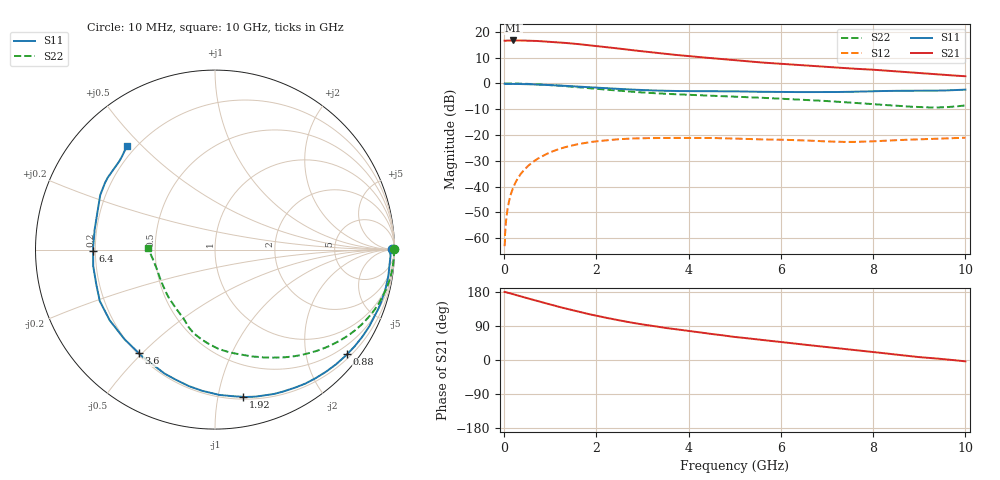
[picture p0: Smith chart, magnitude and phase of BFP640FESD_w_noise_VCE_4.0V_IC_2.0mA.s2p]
! Infineon Technologies  Discrete & RF Semiconductors
! BFP640FESD
! VCE =  4.0 V,  IC =  2.0 mA
! Common Emitter S-Parameters:  Jan 2016
# GHz  S  MA  R  50
!  f  S11  S21  S12  S22
! GHz  MAG  ANG  MAG  ANG  MAG  ANG  MAG  ANG
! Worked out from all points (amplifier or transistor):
!   233 points, 10 MHz to 10 GHz, reference 50 ohm
!   highest |S21| = 16.7 dB at 200 MHz (marker M1)
!   |S21| within 3 dB of that: start of sweep to 2.418 GHz
!   unconditionally stable (mu >= 1): start of sweep to 10.18 MHz; 6.573 GHz to end of sweep
!   at 200 MHz: K = 0.03, MSG = 28.5 dB, |S12| = -40.3 dB
!   at 1.74 GHz: K = 0.14, MSG = 19.0 dB, |S12| = -23.1 dB
!   at 10 GHz: K = 1.44, MAG = 8.0 dB, |S12| = -21.1 dB
!   lowest NFmin = 0.44 dB at 450 MHz
!   S11 on the Smith chart (normalised r, x): 10 MHz: open; 880 MHz: 0.29, -2.85; 1.92 GHz: 0.22, -1.19; 3.6 GHz: 0.21, -0.49; 6.4 GHz: 0.19, -0.01; 10 GHz: 0.17, +0.45
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0.01  0.9869 0.1  6.756 179.4  0.0007 1.5  0.9958 0.2
0.015  0.9815 -0.3  6.736 179.4  0.0008 46.9  0.9967 -0.2
0.02  0.9761 -0.8  6.717 179.5  0.0012 71.5  0.9976 -0.5
0.04  0.9778 -1.7  6.722 178.6  0.0021 77.3  0.9976 -1.0
0.07  0.9775 -3.1  6.741 177.7  0.0035 81.2  0.9975 -1.7
0.2  0.9768 -8.8  6.802 173.6  0.0097 82.8  0.9951 -5.1
0.5  0.9649 -22.0  6.755 163.2  0.0243 76.3  0.9799 -12.6
0.7  0.9533 -30.8  6.661 156.5  0.0334 71.2  0.963 -17.6
0.88  0.9386 -38.4  6.517 150.5  0.0412 66.6  0.9435 -22.0
1.28  0.902 -55.2  6.151 137.4  0.0566 56.6  0.8909 -31.5
1.68  0.86 -70.7  5.689 125.4  0.0684 47.4  0.8318 -40.3
1.92  0.8358 -79.1  5.397 118.9  0.0739 42.5  0.7974 -45.2
2.4  0.792 -94.7  4.837 106.8  0.0819 33.9  0.7341 -54.3
2.76  0.7601 -105.5  4.428 98.7  0.0854 28.2  0.6907 -60.6
3.4  0.7225 -121.9  3.815 86.6  0.0875 20.3  0.6364 -69.6
3.6  0.7159 -126.5  3.657 83.1  0.0878 18.4  0.6237 -72.0
4.5  0.7067 -146.2  3.088 68.6  0.0875 11.7  0.5775 -82.1
5.1  0.6992 -157.5  2.76 59.6  0.0848 8.2  0.5488 -88.9
6.4  0.679 -179.3  2.28 42.0  0.0791 5.4  0.4855 -103.1
6.8  0.6777 173.8  2.154 36.7  0.0764 5.9  0.4649 -107.1
8.4  0.717 148.7  1.739 15.6  0.0787 14.6  0.375 -132.1
10  0.7567 130.5  1.378 -3.6  0.0885 16.0  0.3742 178.3
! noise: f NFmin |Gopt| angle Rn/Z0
0.45  0.44  0.76  9  0.24
2.4  0.82  0.46  59  0.2
5.5  1.23  0.53  146  0.09
10  2.5  0.6  -127  0.33
